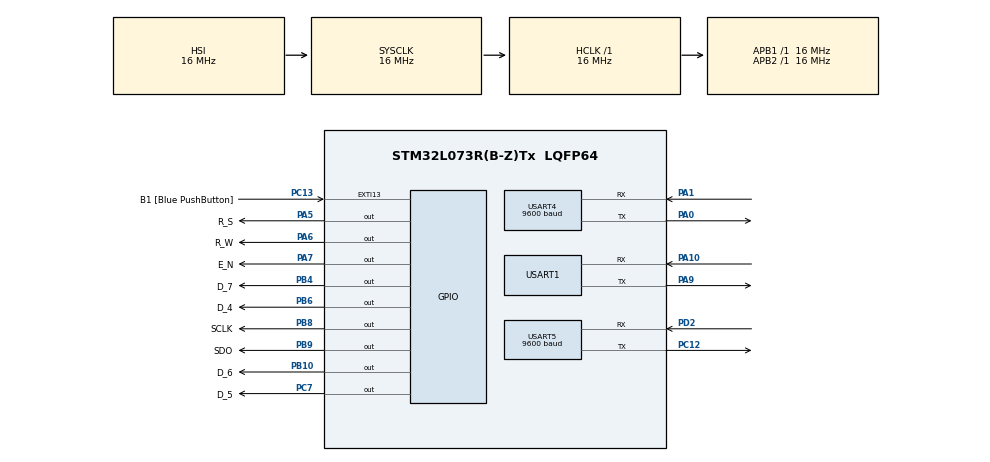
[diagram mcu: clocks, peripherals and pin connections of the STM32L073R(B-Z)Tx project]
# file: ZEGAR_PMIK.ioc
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Mcu.Family=STM32L0
Mcu.Name=STM32L073R(B-Z)Tx
Mcu.Package=LQFP64
NVIC.TIM2_IRQn=true\:0\:0\:false\:false\:true\:true\:true\:true
NVIC.USART1_IRQn=true\:0\:0\:false\:false\:true\:true\:true\:true
NVIC.USART4_5_IRQn=true\:0\:0\:false\:false\:true\:true\:true\:true
PA0.Mode=Asynchronous
PA0.Signal=USART4_TX
PA1.Mode=Asynchronous
PA1.Signal=USART4_RX
PA10.Mode=Asynchronous
PA10.Signal=USART1_RX
PA13.GPIO_Label=TMS
PA13.Signal=SYS_SWDIO
PA14.GPIO_Label=TCK
PA14.Signal=SYS_SWCLK
PA2.GPIO_Label=USART_TX
PA2.Signal=USART2_TX
PA3.GPIO_Label=USART_RX
PA3.Signal=USART2_RX
PA5.GPIO_Label=R_S
PA5.Signal=GPIO_Output
PA6.GPIO_Label=R_W
PA6.Signal=GPIO_Output
PA7.GPIO_Label=E_N
PA7.Signal=GPIO_Output
PA9.Mode=Asynchronous
PA9.Signal=USART1_TX
PB10.GPIO_Label=D_6
PB10.Signal=GPIO_Output
PB4.GPIO_Label=D_7
PB4.Signal=GPIO_Output
PB6.GPIO_Label=D_4
PB6.Signal=GPIO_Output
PB8.GPIO_Label=SCLK
PB8.Signal=GPIO_Output
PB9.GPIO_Label=SDO
PB9.Signal=GPIO_Output
PC12.Mode=Asynchronous
PC12.Signal=USART5_TX
PC13.GPIO_Label=B1 [Blue PushButton]
PC13.GPIO_ModeDefaultEXTI=GPIO_MODE_IT_FALLING
PC13.Signal=GPXTI13
PC14-OSC32_IN.Signal=RCC_OSC32_IN
PC15-OSC32_OUT.Signal=RCC_OSC32_OUT
PC7.GPIO_Label=D_5
PC7.Signal=GPIO_Output
PD2.Mode=Asynchronous
PD2.Signal=USART5_RX
PH0-OSC_IN.GPIO_Label=MCO
PH0-OSC_IN.Mode=HSE-External-Clock-Source
PH0-OSC_IN.Signal=RCC_OSC_IN
ProjectManager.HeapSize=0x200
ProjectManager.StackSize=0x400
ProjectManager.TargetToolchain=STM32CubeIDE
RCC.AHBFreq_Value=16000000
RCC.APB1Freq_Value=16000000
RCC.APB1TimFreq_Value=16000000
RCC.APB2Freq_Value=16000000
RCC.APB2TimFreq_Value=16000000
RCC.HCLKFreq_Value=16000000
RCC.HSE_VALUE=8000000
RCC.HSI16_VALUE=16000000
RCC.HSI48_VALUE=48000000
RCC.HSI_VALUE=16000000
RCC.LSEState=RCC_LSE_ON
RCC.LSE_VALUE=32768
RCC.MSI_VALUE=2097000
RCC.PLLMUL=RCC_PLLMUL_4
RCC.RTCClockSelection=RCC_RTCCLKSOURCE_LSE
RCC.RTCClockSelectionVirtual=RCC_RTCCLKSOURCE_LSE
RCC.SYSCLKFreq_VALUE=16000000
RCC.SYSCLKSource=RCC_SYSCLKSOURCE_HSI
RCC.VCOOutputFreq_Value=64000000
RTC.Alarm-Alarm\ A=RTC_ALARM_A
RTC.AlarmMaskDateWeekDay-Alarm\ A=RTC_ALARMMASK_DATEWEEKDAY
RTC.AlarmMaskSeconds-Alarm\ A=RTC_ALARMMASK_SECONDS
RTC.Hours=0
RTC.Minutes=0
TIM2.AutoReloadPreload=TIM_AUTORELOAD_PRELOAD_ENABLE
TIM2.Period=1000
TIM2.Prescaler=32000-1
TIM3.Period=0xffff-1
TIM3.Prescaler=32-1
USART1.VirtualMode-Asynchronous=VM_ASYNC
USART4.BaudRate=9600
USART4.VirtualMode-Asynchronous=VM_ASYNC
USART5.BaudRate=9600
USART5.VirtualMode-Asynchronous=VM_ASYNC
VP_RTC_VS_RTC_Activate.Mode=RTC_Enabled
VP_RTC_VS_RTC_Alarm_A_Intern.Mode=Alarm A
VP_RTC_VS_RTC_Calendar.Mode=RTC_Calendar
VP_TIM2_VS_ClockSourceINT.Mode=Internal
VP_TIM3_VS_ClockSourceINT.Mode=Internal
board=NUCLEO-L073RZ

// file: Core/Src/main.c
/* USER CODE BEGIN Header */
/**
  ******************************************************************************
  * @file           : main.c
  * @brief          : Main program body
  ******************************************************************************
  * @attention
  *
  * Copyright (c) 2023 STMicroelectronics.
  * All rights reserved.
  *
  * This software is licensed under terms that can be found in the LICENSE file
  * in the root directory of this software component.
  * If no LICENSE file comes with this software, it is provided AS-IS.
  *
  ******************************************************************************
  */
/* USER CODE END Header */
#include "main.h"

/* USER CODE BEGIN Includes */
#include <string.h>
#include <stdio.h>
#include <stdint.h>
#include "TM1637.h"
#include "LCD1602.h"
#include "Clocker.h"
#include "cJSON.h"
#include "DFPLAYER_MINI.h"
/* USER CODE END Includes */

/* USER CODE BEGIN PD */
#define SEMIHOSTING_MODE 1

#ifdef SEMIHOSTING_MODE
	extern void initialise_monitor_handles(void);
#endif
/* USER CODE END PD */

RTC_HandleTypeDef hrtc;

TIM_HandleTypeDef htim2;
TIM_HandleTypeDef htim3;

UART_HandleTypeDef huart1;
UART_HandleTypeDef huart4;
UART_HandleTypeDef huart5;

/* USER CODE BEGIN PV */
char table[500];
char table2[500];
/* USER CODE END PV */

void SystemClock_Config(void);
static void MX_GPIO_Init(void);
static void MX_TIM2_Init(void);
static void MX_TIM3_Init(void);
static void MX_RTC_Init(void);
static void MX_USART4_UART_Init(void);
static void MX_USART1_UART_Init(void);
static void MX_USART5_UART_Init(void);
/* USER CODE BEGIN PFP */
Clocker ourClocker;
/* USER CODE END PFP */

/* USER CODE BEGIN 0 */

void HAL_TIM_PeriodElapsedCallback(TIM_HandleTypeDef *htim)
{
	if(htim == &htim2)
	{
		Clocker_Update_Timers(&ourClocker);
		Clocker_Segment_Update(&ourClocker);
	}
}

void HAL_RTC_AlarmAEventCallback(RTC_HandleTypeDef *hrtc)
{
	ourClocker.alarm = 1;
}

void HAL_UART_RxCpltCallback(UART_HandleTypeDef *huart)
{
	if(huart == &huart1)
	{
		Clocker_Wifi_Receive(&ourClocker, table2);
	}
	else if(huart == &huart5)
	{
		Clocker_Bluetooth(&ourClocker, table);
	}

	HAL_UART_Receive_IT(&huart5, table, 500);
	HAL_UART_Receive_IT(&huart1, table2, 500);
}
/* USER CODE END 0 */

int main(void)
{
  /* USER CODE BEGIN 1 */
	#ifdef SEMIHOSTING_MODE
		initialise_monitor_handles();
	#endif
  /* USER CODE END 1 */

  /* MCU Configuration--------------------------------------------------------*/

  /* Reset of all peripherals, Initializes the Flash interface and the Systick. */
  HAL_Init();

  /* Configure the system clock */
  SystemClock_Config();

  /* Initialize all configured peripherals */
  MX_GPIO_Init();
  MX_TIM2_Init();
  MX_TIM3_Init();
  MX_RTC_Init();
  MX_USART4_UART_Init();
  MX_USART1_UART_Init();
  MX_USART5_UART_Init();
  /* USER CODE BEGIN 2 */
  Clocker_Init(&ourClocker, &hrtc, &htim2, &htim3);
  Clocker_Set_Time(&ourClocker, 12, 0, 0);

  /* USER CODE END 2 */

  /* Infinite loop */
  /* USER CODE BEGIN WHILE */
	HAL_UART_Receive_IT(&huart5, table, 500);
	HAL_UART_Receive_IT(&huart1, table2, 500);

  while (1)
  {
	  Clocker_Change_Screen(&ourClocker);
	  Clocker_Run_Alarm(&ourClocker,&hrtc);
	  Clocker_Alarm_Update(&ourClocker);
    /* USER CODE END WHILE */

  }
}

void SystemClock_Config(void)
{
  RCC_OscInitTypeDef RCC_OscInitStruct = {0};
  RCC_ClkInitTypeDef RCC_ClkInitStruct = {0};
  RCC_PeriphCLKInitTypeDef PeriphClkInit = {0};

  /** Configure the main internal regulator output voltage
  */
  __HAL_PWR_VOLTAGESCALING_CONFIG(PWR_REGULATOR_VOLTAGE_SCALE1);

  /** Initializes the RCC Oscillators according to the specified parameters
  * in the RCC_OscInitTypeDef structure.
  */
  RCC_OscInitStruct.OscillatorType = RCC_OSCILLATORTYPE_HSI|RCC_OSCILLATORTYPE_LSE;
  RCC_OscInitStruct.LSEState = RCC_LSE_ON;
  RCC_OscInitStruct.HSIState = RCC_HSI_ON;
  RCC_OscInitStruct.HSICalibrationValue = RCC_HSICALIBRATION_DEFAULT;
  RCC_OscInitStruct.PLL.PLLState = RCC_PLL_NONE;
  if (HAL_RCC_OscConfig(&RCC_OscInitStruct) != HAL_OK)
  {
    Error_Handler();
  }

  /** Initializes the CPU, AHB and APB buses clocks
  */
  RCC_ClkInitStruct.ClockType = RCC_CLOCKTYPE_HCLK|RCC_CLOCKTYPE_SYSCLK
                              |RCC_CLOCKTYPE_PCLK1|RCC_CLOCKTYPE_PCLK2;
  RCC_ClkInitStruct.SYSCLKSource = RCC_SYSCLKSOURCE_HSI;
  RCC_ClkInitStruct.AHBCLKDivider = RCC_SYSCLK_DIV1;
  RCC_ClkInitStruct.APB1CLKDivider = RCC_HCLK_DIV1;
  RCC_ClkInitStruct.APB2CLKDivider = RCC_HCLK_DIV1;

  if (HAL_RCC_ClockConfig(&RCC_ClkInitStruct, FLASH_LATENCY_0) != HAL_OK)
  {
    Error_Handler();
  }
  PeriphClkInit.PeriphClockSelection = RCC_PERIPHCLK_USART1|RCC_PERIPHCLK_RTC;
  PeriphClkInit.Usart1ClockSelection = RCC_USART1CLKSOURCE_PCLK2;
  PeriphClkInit.RTCClockSelection = RCC_RTCCLKSOURCE_LSE;
  if (HAL_RCCEx_PeriphCLKConfig(&PeriphClkInit) != HAL_OK)
  {
    Error_Handler();
  }
}

static void MX_RTC_Init(void)
{

  RTC_TimeTypeDef sTime = {0};
  RTC_DateTypeDef sDate = {0};
  RTC_AlarmTypeDef sAlarm = {0};

  /** Initialize RTC Only
  */
  hrtc.Instance = RTC;
  hrtc.Init.HourFormat = RTC_HOURFORMAT_24;
  hrtc.Init.AsynchPrediv = 127;
  hrtc.Init.SynchPrediv = 255;
  hrtc.Init.OutPut = RTC_OUTPUT_DISABLE;
  hrtc.Init.OutPutRemap = RTC_OUTPUT_REMAP_NONE;
  hrtc.Init.OutPutPolarity = RTC_OUTPUT_POLARITY_HIGH;
  hrtc.Init.OutPutType = RTC_OUTPUT_TYPE_OPENDRAIN;
  if (HAL_RTC_Init(&hrtc) != HAL_OK)
  {
    Error_Handler();
  }

  /** Initialize RTC and set the Time and Date
  */
  sTime.Hours = 0x0;
  sTime.Minutes = 0x0;
  sTime.Seconds = 0x0;
  sTime.DayLightSaving = RTC_DAYLIGHTSAVING_NONE;
  sTime.StoreOperation = RTC_STOREOPERATION_RESET;
  if (HAL_RTC_SetTime(&hrtc, &sTime, RTC_FORMAT_BCD) != HAL_OK)
  {
    Error_Handler();
  }
  sDate.WeekDay = RTC_WEEKDAY_MONDAY;
  sDate.Month = RTC_MONTH_JANUARY;
  sDate.Date = 0x1;
  sDate.Year = 0x0;

  if (HAL_RTC_SetDate(&hrtc, &sDate, RTC_FORMAT_BCD) != HAL_OK)
  {
    Error_Handler();
  }

  /** Enable the Alarm A
  */
  sAlarm.AlarmTime.Hours = 0x0;
  sAlarm.AlarmTime.Minutes = 0x0;
  sAlarm.AlarmTime.Seconds = 0x0;
  sAlarm.AlarmTime.SubSeconds = 0x0;
  sAlarm.AlarmTime.DayLightSaving = RTC_DAYLIGHTSAVING_NONE;
  sAlarm.AlarmTime.StoreOperation = RTC_STOREOPERATION_RESET;
  sAlarm.AlarmMask = RTC_ALARMMASK_DATEWEEKDAY|RTC_ALARMMASK_SECONDS;
  sAlarm.AlarmSubSecondMask = RTC_ALARMSUBSECONDMASK_ALL;
  sAlarm.AlarmDateWeekDaySel = RTC_ALARMDATEWEEKDAYSEL_DATE;
  sAlarm.AlarmDateWeekDay = 0x1;
  sAlarm.Alarm = RTC_ALARM_A;
  if (HAL_RTC_SetAlarm(&hrtc, &sAlarm, RTC_FORMAT_BCD) != HAL_OK)
  {
    Error_Handler();
  }
  /* USER CODE BEGIN RTC_Init 2 */
  HAL_RTC_DeactivateAlarm(&hrtc, RTC_ALARM_A);
  /* USER CODE END RTC_Init 2 */

}

static void MX_TIM2_Init(void)
{

  TIM_ClockConfigTypeDef sClockSourceConfig = {0};
  TIM_MasterConfigTypeDef sMasterConfig = {0};

  htim2.Instance = TIM2;
  htim2.Init.Prescaler = 32000-1;
  htim2.Init.CounterMode = TIM_COUNTERMODE_UP;
  htim2.Init.Period = 1000;
  htim2.Init.ClockDivision = TIM_CLOCKDIVISION_DIV1;
  htim2.Init.AutoReloadPreload = TIM_AUTORELOAD_PRELOAD_ENABLE;
  if (HAL_TIM_Base_Init(&htim2) != HAL_OK)
  {
    Error_Handler();
  }
  sClockSourceConfig.ClockSource = TIM_CLOCKSOURCE_INTERNAL;
  if (HAL_TIM_ConfigClockSource(&htim2, &sClockSourceConfig) != HAL_OK)
  {
    Error_Handler();
  }
  sMasterConfig.MasterOutputTrigger = TIM_TRGO_RESET;
  sMasterConfig.MasterSlaveMode = TIM_MASTERSLAVEMODE_DISABLE;
  if (HAL_TIMEx_MasterConfigSynchronization(&htim2, &sMasterConfig) != HAL_OK)
  {
    Error_Handler();
  }

}

static void MX_TIM3_Init(void)
{

  TIM_ClockConfigTypeDef sClockSourceConfig = {0};
  TIM_MasterConfigTypeDef sMasterConfig = {0};

  htim3.Instance = TIM3;
  htim3.Init.Prescaler = 32-1;
  htim3.Init.CounterMode = TIM_COUNTERMODE_UP;
  htim3.Init.Period = 0xffff-1;
  htim3.Init.ClockDivision = TIM_CLOCKDIVISION_DIV1;
  htim3.Init.AutoReloadPreload = TIM_AUTORELOAD_PRELOAD_DISABLE;
  if (HAL_TIM_Base_Init(&htim3) != HAL_OK)
  {
    Error_Handler();
  }
  sClockSourceConfig.ClockSource = TIM_CLOCKSOURCE_INTERNAL;
  if (HAL_TIM_ConfigClockSource(&htim3, &sClockSourceConfig) != HAL_OK)
  {
    Error_Handler();
  }
  sMasterConfig.MasterOutputTrigger = TIM_TRGO_RESET;
  sMasterConfig.MasterSlaveMode = TIM_MASTERSLAVEMODE_DISABLE;
  if (HAL_TIMEx_MasterConfigSynchronization(&htim3, &sMasterConfig) != HAL_OK)
  {
    Error_Handler();
  }

}

static void MX_USART1_UART_Init(void)
{

  huart1.Instance = USART1;
  huart1.Init.BaudRate = 115200;
  huart1.Init.WordLength = UART_WORDLENGTH_8B;
  huart1.Init.StopBits = UART_STOPBITS_1;
  huart1.Init.Parity = UART_PARITY_NONE;
  huart1.Init.Mode = UART_MODE_TX_RX;
  huart1.Init.HwFlowCtl = UART_HWCONTROL_NONE;
  huart1.Init.OverSampling = UART_OVERSAMPLING_16;
  huart1.Init.OneBitSampling = UART_ONE_BIT_SAMPLE_DISABLE;
  huart1.AdvancedInit.AdvFeatureInit = UART_ADVFEATURE_NO_INIT;
  if (HAL_UART_Init(&huart1) != HAL_OK)
  {
    Error_Handler();
  }

}

static void MX_USART4_UART_Init(void)
{

  huart4.Instance = USART4;
  huart4.Init.BaudRate = 9600;
  huart4.Init.WordLength = UART_WORDLENGTH_8B;
  huart4.Init.StopBits = UART_STOPBITS_1;
  huart4.Init.Parity = UART_PARITY_NONE;
  huart4.Init.Mode = UART_MODE_TX_RX;
  huart4.Init.HwFlowCtl = UART_HWCONTROL_NONE;
  huart4.Init.OverSampling = UART_OVERSAMPLING_16;
  huart4.Init.OneBitSampling = UART_ONE_BIT_SAMPLE_DISABLE;
  huart4.AdvancedInit.AdvFeatureInit = UART_ADVFEATURE_NO_INIT;
  if (HAL_UART_Init(&huart4) != HAL_OK)
  {
    Error_Handler();
  }

}

static void MX_USART5_UART_Init(void)
{

  huart5.Instance = USART5;
  huart5.Init.BaudRate = 9600;
  huart5.Init.WordLength = UART_WORDLENGTH_8B;
  huart5.Init.StopBits = UART_STOPBITS_1;
  huart5.Init.Parity = UART_PARITY_NONE;
  huart5.Init.Mode = UART_MODE_TX_RX;
  huart5.Init.HwFlowCtl = UART_HWCONTROL_NONE;
  huart5.Init.OverSampling = UART_OVERSAMPLING_16;
  huart5.Init.OneBitSampling = UART_ONE_BIT_SAMPLE_DISABLE;
  huart5.AdvancedInit.AdvFeatureInit = UART_ADVFEATURE_NO_INIT;
  if (HAL_UART_Init(&huart5) != HAL_OK)
  {
    Error_Handler();
  }

}

static void MX_GPIO_Init(void)
{
  GPIO_InitTypeDef GPIO_InitStruct = {0};

  /* GPIO Ports Clock Enable */
  __HAL_RCC_GPIOC_CLK_ENABLE();
  __HAL_RCC_GPIOH_CLK_ENABLE();
  __HAL_RCC_GPIOA_CLK_ENABLE();
  __HAL_RCC_GPIOB_CLK_ENABLE();
  __HAL_RCC_GPIOD_CLK_ENABLE();

  /*Configure GPIO pin Output Level */
  HAL_GPIO_WritePin(GPIOA, R_S_Pin|R_W_Pin|E_N_Pin, GPIO_PIN_RESET);

  /*Configure GPIO pin Output Level */
  HAL_GPIO_WritePin(GPIOB, D_6_Pin|D_7_Pin|D_4_Pin|SCLK_Pin
                          |SDO_Pin, GPIO_PIN_RESET);

  /*Configure GPIO pin Output Level */
  HAL_GPIO_WritePin(D_5_GPIO_Port, D_5_Pin, GPIO_PIN_RESET);

  /*Configure GPIO pin : B1_Pin */
  GPIO_InitStruct.Pin = B1_Pin;
  GPIO_InitStruct.Mode = GPIO_MODE_IT_FALLING;
  GPIO_InitStruct.Pull = GPIO_NOPULL;
  HAL_GPIO_Init(B1_GPIO_Port, &GPIO_InitStruct);

  /*Configure GPIO pins : USART_TX_Pin USART_RX_Pin */
  GPIO_InitStruct.Pin = USART_TX_Pin|USART_RX_Pin;
  GPIO_InitStruct.Mode = GPIO_MODE_AF_PP;
  GPIO_InitStruct.Pull = GPIO_NOPULL;
  GPIO_InitStruct.Speed = GPIO_SPEED_FREQ_VERY_HIGH;
  GPIO_InitStruct.Alternate = GPIO_AF4_USART2;
  HAL_GPIO_Init(GPIOA, &GPIO_InitStruct);

  /*Configure GPIO pins : R_S_Pin R_W_Pin E_N_Pin */
  GPIO_InitStruct.Pin = R_S_Pin|R_W_Pin|E_N_Pin;
  GPIO_InitStruct.Mode = GPIO_MODE_OUTPUT_PP;
  GPIO_InitStruct.Pull = GPIO_NOPULL;
  GPIO_InitStruct.Speed = GPIO_SPEED_FREQ_LOW;
  HAL_GPIO_Init(GPIOA, &GPIO_InitStruct);

  /*Configure GPIO pins : D_6_Pin D_7_Pin D_4_Pin SCLK_Pin
                           SDO_Pin */
  GPIO_InitStruct.Pin = D_6_Pin|D_7_Pin|D_4_Pin|SCLK_Pin
                          |SDO_Pin;
  GPIO_InitStruct.Mode = GPIO_MODE_OUTPUT_PP;
  GPIO_InitStruct.Pull = GPIO_NOPULL;
  GPIO_InitStruct.Speed = GPIO_SPEED_FREQ_LOW;
  HAL_GPIO_Init(GPIOB, &GPIO_InitStruct);

  /*Configure GPIO pin : D_5_Pin */
  GPIO_InitStruct.Pin = D_5_Pin;
  GPIO_InitStruct.Mode = GPIO_MODE_OUTPUT_PP;
  GPIO_InitStruct.Pull = GPIO_NOPULL;
  GPIO_InitStruct.Speed = GPIO_SPEED_FREQ_LOW;
  HAL_GPIO_Init(D_5_GPIO_Port, &GPIO_InitStruct);

}

void Error_Handler(void)
{
  __disable_irq();
  while (1)
  {
  }
}
